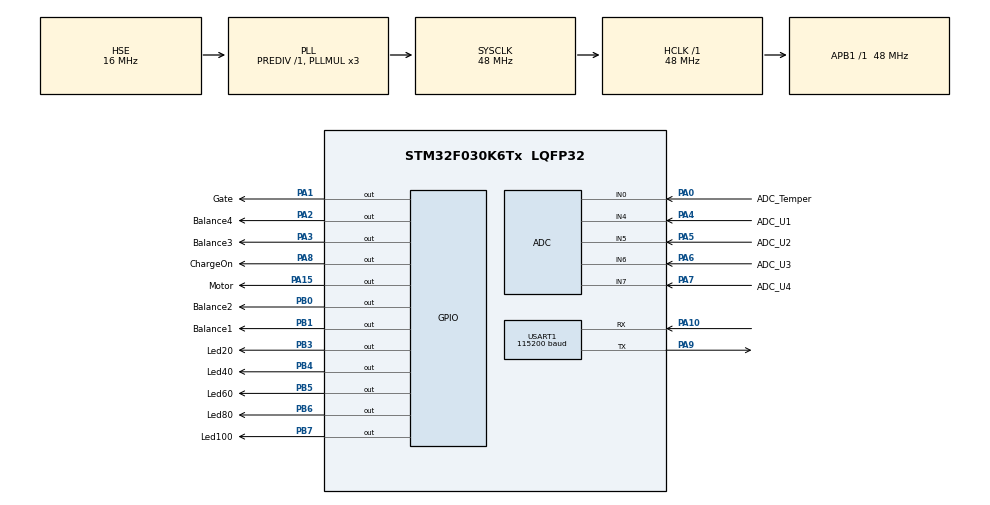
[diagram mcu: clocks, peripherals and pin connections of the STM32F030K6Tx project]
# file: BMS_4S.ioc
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ADC.ClockPrescaler=ADC_CLOCK_SYNC_PCLK_DIV4
ADC.ContinuousConvMode=DISABLE
ADC.DMAContinuousRequests=ENABLE
ADC.DiscontinuousConvMode=DISABLE
ADC.EOCSelection=ADC_EOC_SINGLE_CONV
ADC.LowPowerAutoPowerOff=DISABLE
ADC.LowPowerAutoWait=DISABLE
ADC.SamplingTime=ADC_SAMPLETIME_239CYCLES_5
ADC.ScanConvMode=ADC_SCAN_DIRECTION_FORWARD
Dma.ADC.0.Direction=DMA_PERIPH_TO_MEMORY
Dma.ADC.0.Instance=DMA1_Channel1
Dma.ADC.0.MemDataAlignment=DMA_MDATAALIGN_HALFWORD
Dma.ADC.0.MemInc=DMA_MINC_ENABLE
Dma.ADC.0.Mode=DMA_CIRCULAR
Dma.ADC.0.PeriphDataAlignment=DMA_PDATAALIGN_HALFWORD
Dma.ADC.0.PeriphInc=DMA_PINC_DISABLE
Dma.ADC.0.Priority=DMA_PRIORITY_MEDIUM
Dma.Request0=ADC
Dma.Request1=USART1_TX
Dma.Request2=USART1_RX
Dma.USART1_RX.2.Direction=DMA_PERIPH_TO_MEMORY
Dma.USART1_RX.2.Instance=DMA1_Channel3
Dma.USART1_RX.2.MemDataAlignment=DMA_MDATAALIGN_BYTE
Dma.USART1_RX.2.MemInc=DMA_MINC_ENABLE
Dma.USART1_RX.2.Mode=DMA_NORMAL
Dma.USART1_RX.2.PeriphDataAlignment=DMA_PDATAALIGN_BYTE
Dma.USART1_RX.2.PeriphInc=DMA_PINC_DISABLE
Dma.USART1_RX.2.Priority=DMA_PRIORITY_LOW
Dma.USART1_TX.1.Direction=DMA_MEMORY_TO_PERIPH
Dma.USART1_TX.1.Instance=DMA1_Channel2
Dma.USART1_TX.1.MemDataAlignment=DMA_MDATAALIGN_BYTE
Dma.USART1_TX.1.MemInc=DMA_MINC_ENABLE
Dma.USART1_TX.1.Mode=DMA_NORMAL
Dma.USART1_TX.1.PeriphDataAlignment=DMA_PDATAALIGN_BYTE
Dma.USART1_TX.1.PeriphInc=DMA_PINC_DISABLE
Dma.USART1_TX.1.Priority=DMA_PRIORITY_LOW
Mcu.Family=STM32F0
Mcu.Name=STM32F030K6Tx
Mcu.Package=LQFP32
NVIC.DMA1_Channel1_IRQn=true\:0\:0\:false\:false\:true\:false
NVIC.DMA1_Channel2_3_IRQn=true\:0\:0\:false\:false\:true\:false
NVIC.TIM3_IRQn=true\:0\:0\:false\:false\:true\:true
NVIC.USART1_IRQn=true\:0\:0\:false\:false\:true\:true
PA0.GPIO_Label=ADC_Temper
PA0.Mode=IN0
PA0.Signal=ADC_IN0
PA1.GPIO_Label=Gate
PA1.Signal=GPIO_Output
PA10.Mode=Asynchronous
PA10.Signal=USART1_RX
PA13.Mode=Serial_Wire
PA13.Signal=SYS_SWDIO
PA14.Mode=Serial_Wire
PA14.Signal=SYS_SWCLK
PA15.GPIO_Label=Motor
PA15.Signal=GPIO_Output
PA2.GPIO_Label=Balance4
PA2.Signal=GPIO_Output
PA3.GPIO_Label=Balance3
PA3.Signal=GPIO_Output
PA4.GPIO_Label=ADC_U1
PA4.Mode=IN4
PA4.Signal=ADC_IN4
PA5.GPIO_Label=ADC_U2
PA5.Mode=IN5
PA5.Signal=ADC_IN5
PA6.GPIO_Label=ADC_U3
PA6.Mode=IN6
PA6.Signal=ADC_IN6
PA7.GPIO_Label=ADC_U4
PA7.Mode=IN7
PA7.Signal=ADC_IN7
PA8.GPIO_Label=ChargeOn
PA8.Signal=GPIO_Output
PA9.Mode=Asynchronous
PA9.Signal=USART1_TX
PB0.GPIO_Label=Balance2
PB0.Signal=GPIO_Output
PB1.GPIO_Label=Balance1
PB1.Signal=GPIO_Output
PB3.GPIO_Label=Led20
PB3.Signal=GPIO_Output
PB4.GPIO_Label=Led40
PB4.Signal=GPIO_Output
PB5.GPIO_Label=Led60
PB5.Signal=GPIO_Output
PB6.GPIO_Label=Led80
PB6.Signal=GPIO_Output
PB7.GPIO_Label=Led100
PB7.Signal=GPIO_Output
PF0-OSC_IN.Mode=HSE-External-Oscillator
PF0-OSC_IN.Signal=RCC_OSC_IN
PF1-OSC_OUT.Mode=HSE-External-Oscillator
PF1-OSC_OUT.Signal=RCC_OSC_OUT
ProjectManager.HeapSize=0x200
ProjectManager.StackSize=0x400
ProjectManager.TargetToolchain=Other Toolchains (GPDSC)
RCC.AHBFreq_Value=48000000
RCC.APB1Freq_Value=48000000
RCC.APB1TimFreq_Value=48000000
RCC.HCLKFreq_Value=48000000
RCC.HSE_VALUE=16000000
RCC.PLLMUL=RCC_PLL_MUL3
RCC.PLLSourceVirtual=RCC_PLLSOURCE_HSE
RCC.SYSCLKFreq_VALUE=48000000
RCC.SYSCLKSource=RCC_SYSCLKSOURCE_PLLCLK
TIM3.Period=9999
TIM3.Prescaler=4799
USART1.BaudRate=115200
USART1.VirtualMode-Asynchronous=VM_ASYNC
VP_TIM3_VS_ClockSourceINT.Mode=Internal
board=custom

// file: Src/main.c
/* USER CODE BEGIN Header */
/**
  ******************************************************************************
  * @file           : main.c
  * @brief          : Main program body
  ******************************************************************************
  ** This notice applies to any and all portions of this file
  * that are not between comment pairs USER CODE BEGIN and
  * USER CODE END. Other portions of this file, whether
  * inserted by the user or by software development tools
  * are owned by their respective copyright owners.
  *
  * COPYRIGHT(c) 2019 STMicroelectronics
  *
  * Redistribution and use in source and binary forms, with or without modification,
  * are permitted provided that the following conditions are met:
  *   1. Redistributions of source code must retain the above copyright notice,
  *      this list of conditions and the following disclaimer.
  *   2. Redistributions in binary form must reproduce the above copyright notice,
  *      this list of conditions and the following disclaimer in the documentation
  *      and/or other materials provided with the distribution.
  *   3. Neither the name of STMicroelectronics nor the names of its contributors
  *      may be used to endorse or promote products derived from this software
  *      without specific prior written permission.
  *
  * THIS SOFTWARE IS PROVIDED BY THE COPYRIGHT HOLDERS AND CONTRIBUTORS "AS IS"
  * AND ANY EXPRESS OR IMPLIED WARRANTIES, INCLUDING, BUT NOT LIMITED TO, THE
  * IMPLIED WARRANTIES OF MERCHANTABILITY AND FITNESS FOR A PARTICULAR PURPOSE ARE
  * DISCLAIMED. IN NO EVENT SHALL THE COPYRIGHT HOLDER OR CONTRIBUTORS BE LIABLE
  * FOR ANY DIRECT, INDIRECT, INCIDENTAL, SPECIAL, EXEMPLARY, OR CONSEQUENTIAL
  * DAMAGES (INCLUDING, BUT NOT LIMITED TO, PROCUREMENT OF SUBSTITUTE GOODS OR
  * SERVICES; LOSS OF USE, DATA, OR PROFITS; OR BUSINESS INTERRUPTION) HOWEVER
  * CAUSED AND ON ANY THEORY OF LIABILITY, WHETHER IN CONTRACT, STRICT LIABILITY,
  * OR TORT (INCLUDING NEGLIGENCE OR OTHERWISE) ARISING IN ANY WAY OUT OF THE USE
  * OF THIS SOFTWARE, EVEN IF ADVISED OF THE POSSIBILITY OF SUCH DAMAGE.
  *
  ******************************************************************************
  */
/* USER CODE END Header */

#include "main.h"
#include "adc.h"
#include "dma.h"
#include "tim.h"
#include "usart.h"
#include "gpio.h"

/* USER CODE BEGIN Includes */
#include "discreteDevices.h"
#include "cell.h"
#include "memory.h"
#include "safetyStatus.h"
#include "chargeStatus.h"
#include "batteryStatus.h"
#include "statusRegisters.h"
/* USER CODE END Includes */

void SystemClock_Config(void);

int main(void)
{

  /* MCU Configuration--------------------------------------------------------*/

  /* Reset of all peripherals, Initializes the Flash interface and the Systick. */
  HAL_Init();

  /* Configure the system clock */
  SystemClock_Config();

  /* Initialize all configured peripherals */
  MX_GPIO_Init();
  MX_DMA_Init();
  MX_USART1_UART_Init();
  MX_ADC_Init();
  MX_TIM3_Init();
  /* USER CODE BEGIN 2 */
  startADCConversion();
  loadSettings();
  HAL_TIM_Base_Start(&htim3);
  HAL_TIM_Base_Start_IT(&htim3);
  loadFirmwareVersion();
  waitNewCommand();
  /* USER CODE END 2 */

  /* Infinite loop */
  /* USER CODE BEGIN WHILE */
  while (true)
  {
    updateADCMeasurements();
	updateSafetyRegister();
	updateChargeRegister();
	updateBatteryRegister();
	updateStatusRegisters();
    /* USER CODE END WHILE */

  }
}

void SystemClock_Config(void)
{
  RCC_OscInitTypeDef RCC_OscInitStruct = {0};
  RCC_ClkInitTypeDef RCC_ClkInitStruct = {0};
  RCC_PeriphCLKInitTypeDef PeriphClkInit = {0};

  /**Initializes the CPU, AHB and APB busses clocks
  */
  RCC_OscInitStruct.OscillatorType = RCC_OSCILLATORTYPE_HSE;
  RCC_OscInitStruct.HSEState = RCC_HSE_ON;
  RCC_OscInitStruct.PLL.PLLState = RCC_PLL_ON;
  RCC_OscInitStruct.PLL.PLLSource = RCC_PLLSOURCE_HSE;
  RCC_OscInitStruct.PLL.PLLMUL = RCC_PLL_MUL3;
  RCC_OscInitStruct.PLL.PREDIV = RCC_PREDIV_DIV1;
  if (HAL_RCC_OscConfig(&RCC_OscInitStruct) != HAL_OK)
  {
    Error_Handler();
  }
  /**Initializes the CPU, AHB and APB busses clocks
  */
  RCC_ClkInitStruct.ClockType = RCC_CLOCKTYPE_HCLK|RCC_CLOCKTYPE_SYSCLK
                              |RCC_CLOCKTYPE_PCLK1;
  RCC_ClkInitStruct.SYSCLKSource = RCC_SYSCLKSOURCE_PLLCLK;
  RCC_ClkInitStruct.AHBCLKDivider = RCC_SYSCLK_DIV1;
  RCC_ClkInitStruct.APB1CLKDivider = RCC_HCLK_DIV1;

  if (HAL_RCC_ClockConfig(&RCC_ClkInitStruct, FLASH_LATENCY_1) != HAL_OK)
  {
    Error_Handler();
  }
  PeriphClkInit.PeriphClockSelection = RCC_PERIPHCLK_USART1;
  PeriphClkInit.Usart1ClockSelection = RCC_USART1CLKSOURCE_PCLK1;
  if (HAL_RCCEx_PeriphCLKConfig(&PeriphClkInit) != HAL_OK)
  {
    Error_Handler();
  }
}

void Error_Handler(void)
{
  /* USER CODE BEGIN Error_Handler_Debug */
  /* User can add his own implementation to report the HAL error return state */
	while (true)
	{
		led20(ON);
		HAL_Delay(40);
		led20(OFF);
		HAL_Delay(40);
	}
  /* USER CODE END Error_Handler_Debug */
}

/************************ (C) COPYRIGHT STMicroelectronics *****END OF FILE****/
